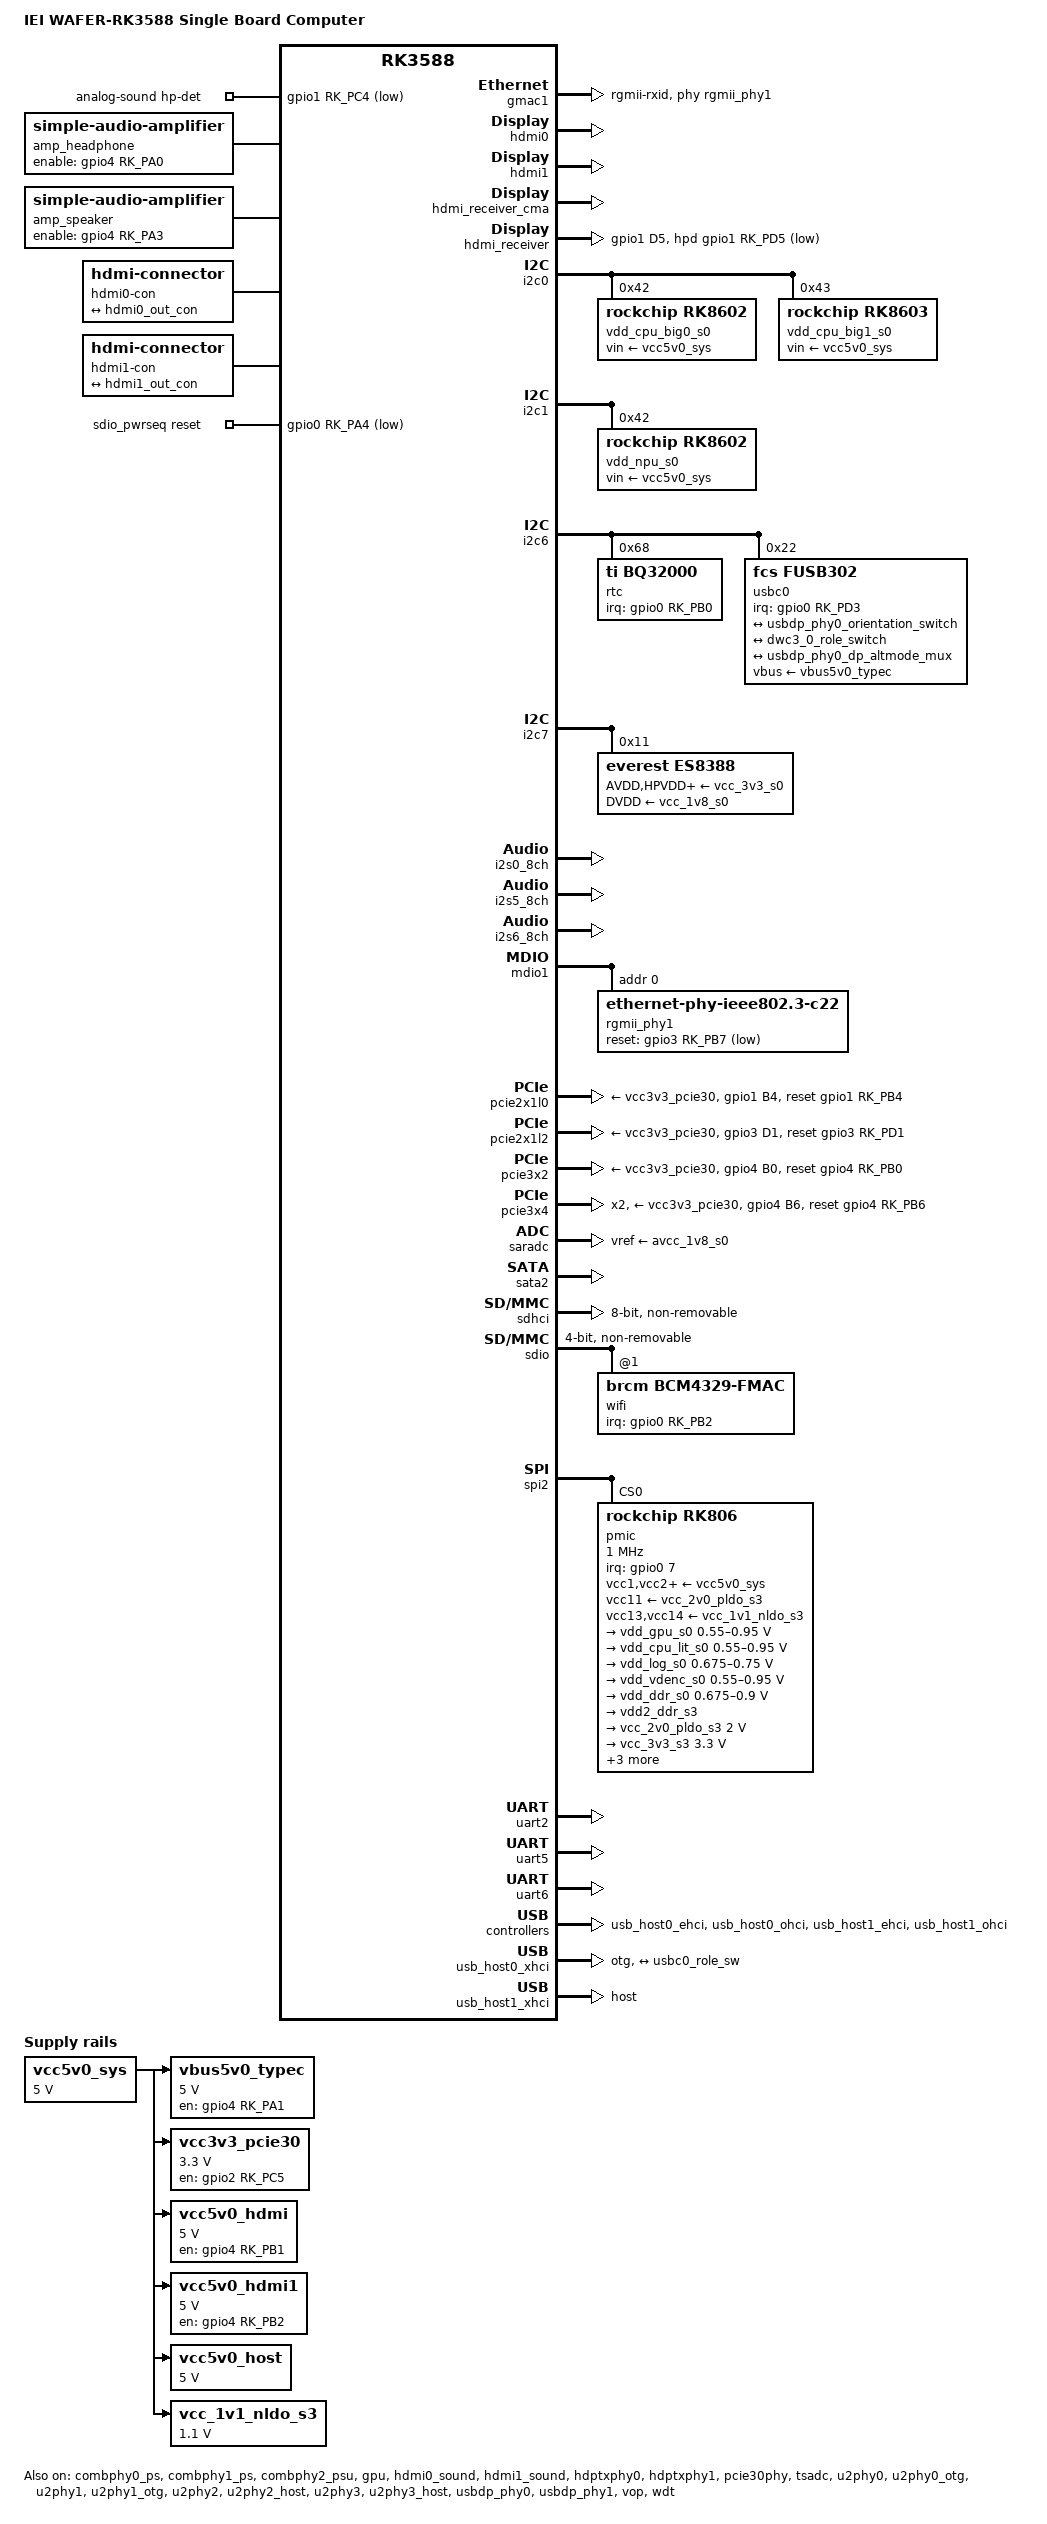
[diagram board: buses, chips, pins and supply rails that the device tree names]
// SPDX-License-Identifier: (GPL-2.0+ OR MIT)
/*
 * Copyright (c) 2026 IEI Integration Corp.
 */

/dts-v1/;

#include <dt-bindings/gpio/gpio.h>
#include <dt-bindings/pinctrl/rockchip.h>
#include <dt-bindings/soc/rockchip,vop2.h>
#include <dt-bindings/usb/pd.h>
#include "rk3588.dtsi"

/ {
	model = "IEI WAFER-RK3588 Single Board Computer";
	compatible = "iei,wafer-rk3588", "rockchip,rk3588";

	aliases {
		ethernet0 = &gmac1;
		mmc0 = &sdhci;
	};

	chosen {
		stdout-path = "serial2:1500000n8";
	};

	analog-sound {
		compatible = "simple-audio-card";
		pinctrl-names = "default";
		pinctrl-0 = <&hp_detect>;
		simple-audio-card,name = "WAFER-RK3588 Audio";
		simple-audio-card,aux-devs = <&amp_headphone>, <&amp_speaker>;
		simple-audio-card,bitclock-master = <&masterdai>;
		simple-audio-card,format = "i2s";
		simple-audio-card,frame-master = <&masterdai>;
		simple-audio-card,hp-det-gpios = <&gpio1 RK_PC4 GPIO_ACTIVE_LOW>;
		simple-audio-card,mclk-fs = <256>;
		simple-audio-card,pin-switches = "Headphones", "Speaker";
		simple-audio-card,routing =
			"Speaker Amplifier INL", "LOUT2",
			"Speaker Amplifier INR", "ROUT2",
			"Speaker", "Speaker Amplifier OUTL",
			"Speaker", "Speaker Amplifier OUTR",
			"Headphones Amplifier INL", "LOUT1",
			"Headphones Amplifier INR", "ROUT1",
			"Headphones", "Headphones Amplifier OUTL",
			"Headphones", "Headphones Amplifier OUTR",
			"LINPUT1", "Main Microphone",
			"RINPUT1", "Main Microphone",
			"LINPUT2", "Headset Microphone",
			"RINPUT2", "Headset Microphone";
		simple-audio-card,widgets =
			"Microphone", "Main Microphone",
			"Microphone", "Headset Microphone",
			"Headphone", "Headphones",
			"Speaker", "Speaker";

		simple-audio-card,cpu {
			sound-dai = <&i2s0_8ch>;
		};

		masterdai: simple-audio-card,codec {
			sound-dai = <&es8388>;
			system-clock-frequency = <12288000>;
		};
	};

	amp_headphone: headphone-amplifier {
		compatible = "simple-audio-amplifier";
		enable-gpios = <&gpio4 RK_PA0 GPIO_ACTIVE_HIGH>;
		pinctrl-names = "default";
		pinctrl-0 = <&headphone_amplifier_en>;
		sound-name-prefix = "Headphones Amplifier";
	};

	amp_speaker: speaker-amplifier {
		compatible = "simple-audio-amplifier";
		enable-gpios = <&gpio4 RK_PA3 GPIO_ACTIVE_HIGH>;
		pinctrl-names = "default";
		pinctrl-0 = <&speaker_amplifier_en>;
		sound-name-prefix = "Speaker Amplifier";
	};

	hdmi0-con {
		compatible = "hdmi-connector";
		type = "a";

		port {
			hdmi0_con_in: endpoint {
				remote-endpoint = <&hdmi0_out_con>;
			};
		};
	};

	hdmi1-con {
		compatible = "hdmi-connector";
		type = "a";

		port {
			hdmi1_con_in: endpoint {
				remote-endpoint = <&hdmi1_out_con>;
			};
		};
	};

	vbus5v0_typec: regulator-vbus5v0-typec {
		compatible = "regulator-fixed";
		enable-active-high;
		gpio = <&gpio4 RK_PA1 GPIO_ACTIVE_HIGH>;
		pinctrl-names = "default";
		pinctrl-0 = <&typec5v_pwren>;
		regulator-name = "vbus5v0_typec";
		regulator-min-microvolt = <5000000>;
		regulator-max-microvolt = <5000000>;
		vin-supply = <&vcc5v0_sys>;
	};

	vcc3v3_pcie30: regulator-vcc3v3-pcie30 {
		compatible = "regulator-fixed";
		enable-active-high;
		gpios = <&gpio2 RK_PC5 GPIO_ACTIVE_HIGH>;
		regulator-name = "vcc3v3_pcie30";
		regulator-min-microvolt = <3300000>;
		regulator-max-microvolt = <3300000>;
		startup-delay-us = <5000>;
		vin-supply = <&vcc5v0_sys>;
	};

	vcc5v0_hdmi: regulator-vcc5v0-hdmi {
		compatible = "regulator-fixed";
		enable-active-high;
		gpios = <&gpio4 RK_PB1 GPIO_ACTIVE_HIGH>;
		pinctrl-names = "default";
		pinctrl-0 = <&hdmi0_tx_en>;
		regulator-name = "vcc5v0_hdmi";
		regulator-always-on;
		regulator-boot-on;
		regulator-min-microvolt = <5000000>;
		regulator-max-microvolt = <5000000>;
		vin-supply = <&vcc5v0_sys>;
	};

	vcc5v0_hdmi1: regulator-vcc5v0-hdmi1 {
		compatible = "regulator-fixed";
		enable-active-high;
		gpios = <&gpio4 RK_PB2 GPIO_ACTIVE_HIGH>;
		pinctrl-names = "default";
		pinctrl-0 = <&hdmi1_tx_en>;
		regulator-name = "vcc5v0_hdmi1";
		regulator-always-on;
		regulator-boot-on;
		regulator-min-microvolt = <5000000>;
		regulator-max-microvolt = <5000000>;
		vin-supply = <&vcc5v0_sys>;
	};

	vcc5v0_host: regulator-vcc5v0-host {
		compatible = "regulator-fixed";
		regulator-name = "vcc5v0_host";
		regulator-always-on;
		regulator-boot-on;
		regulator-min-microvolt = <5000000>;
		regulator-max-microvolt = <5000000>;
		vin-supply = <&vcc5v0_sys>;
	};

	vcc5v0_sys: regulator-vcc5v0-sys {
		compatible = "regulator-fixed";
		regulator-name = "vcc5v0_sys";
		regulator-always-on;
		regulator-boot-on;
		regulator-min-microvolt = <5000000>;
		regulator-max-microvolt = <5000000>;
	};

	vcc_1v1_nldo_s3: regulator-vcc-1v1-nldo-s3 {
		compatible = "regulator-fixed";
		regulator-name = "vcc_1v1_nldo_s3";
		regulator-always-on;
		regulator-boot-on;
		regulator-min-microvolt = <1100000>;
		regulator-max-microvolt = <1100000>;
		vin-supply = <&vcc5v0_sys>;
	};

	sdio_pwrseq: sdio-pwrseq {
		compatible = "mmc-pwrseq-simple";
		pinctrl-names = "default";
		pinctrl-0 = <&wifi_enable_h>;
		reset-gpios = <&gpio0 RK_PA4 GPIO_ACTIVE_LOW>;
		post-power-on-delay-ms = <100>;
	};
};

&combphy0_ps {
	status = "okay";
};

&combphy1_ps {
	status = "okay";
};

&combphy2_psu {
	status = "okay";
};

&cpu_b0 {
	cpu-supply = <&vdd_cpu_big0_s0>;
};

&cpu_b1 {
	cpu-supply = <&vdd_cpu_big0_s0>;
};

&cpu_b2 {
	cpu-supply = <&vdd_cpu_big1_s0>;
};

&cpu_b3 {
	cpu-supply = <&vdd_cpu_big1_s0>;
};

&cpu_l0 {
	cpu-supply = <&vdd_cpu_lit_s0>;
};

&cpu_l1 {
	cpu-supply = <&vdd_cpu_lit_s0>;
};

&cpu_l2 {
	cpu-supply = <&vdd_cpu_lit_s0>;
};

&cpu_l3 {
	cpu-supply = <&vdd_cpu_lit_s0>;
};

&gmac1 {
	clock_in_out = "output";
	phy-handle = <&rgmii_phy1>;
	phy-mode = "rgmii-rxid";
	pinctrl-names = "default";
	pinctrl-0 = <&gmac1_miim
		     &gmac1_tx_bus2
		     &gmac1_rx_bus2
		     &gmac1_rgmii_clk
		     &gmac1_rgmii_bus>;
	tx_delay = <0x43>;
	status = "okay";
};

&gpu {
	mali-supply = <&vdd_gpu_s0>;
	status = "okay";
};

&hdmi0 {
	status = "okay";
};

&hdmi0_in {
	hdmi0_in_vp0: endpoint {
		remote-endpoint = <&vp0_out_hdmi0>;
	};
};

&hdmi0_out {
	hdmi0_out_con: endpoint {
		remote-endpoint = <&hdmi0_con_in>;
	};
};

&hdmi0_sound {
	status = "okay";
};

&hdmi1 {
	status = "okay";
};

&hdmi1_in {
	hdmi1_in_vp1: endpoint {
		remote-endpoint = <&vp1_out_hdmi1>;
	};
};

&hdmi1_out {
	hdmi1_out_con: endpoint {
		remote-endpoint = <&hdmi1_con_in>;
	};
};

&hdmi1_sound {
	status = "okay";
};

&hdmi_receiver_cma {
	status = "okay";
};

&hdmi_receiver {
	hpd-gpios = <&gpio1 RK_PD5 GPIO_ACTIVE_LOW>;
	pinctrl-names = "default";
	pinctrl-0 = <&hdmim1_rx_cec &hdmim1_rx_hpdin
		     &hdmim1_rx_scl &hdmim1_rx_sda &hdmirx_hpd>;
	status = "okay";
};

&hdptxphy0 {
	status = "okay";
};

&hdptxphy1 {
	status = "okay";
};

&i2c0 {
	pinctrl-names = "default";
	pinctrl-0 = <&i2c0m2_xfer>;
	status = "okay";

	vdd_cpu_big0_s0: regulator@42 {
		compatible = "rockchip,rk8602";
		reg = <0x42>;
		fcs,suspend-voltage-selector = <1>;
		regulator-name = "vdd_cpu_big0_s0";
		regulator-always-on;
		regulator-boot-on;
		regulator-min-microvolt = <550000>;
		regulator-max-microvolt = <1050000>;
		regulator-ramp-delay = <2300>;
		vin-supply = <&vcc5v0_sys>;

		regulator-state-mem {
			regulator-off-in-suspend;
		};
	};

	vdd_cpu_big1_s0: regulator@43 {
		compatible = "rockchip,rk8603", "rockchip,rk8602";
		reg = <0x43>;
		fcs,suspend-voltage-selector = <1>;
		regulator-name = "vdd_cpu_big1_s0";
		regulator-always-on;
		regulator-boot-on;
		regulator-min-microvolt = <550000>;
		regulator-max-microvolt = <1050000>;
		regulator-ramp-delay = <2300>;
		vin-supply = <&vcc5v0_sys>;

		regulator-state-mem {
			regulator-off-in-suspend;
		};
	};
};

&i2c1 {
	pinctrl-names = "default";
	pinctrl-0 = <&i2c1m2_xfer>;
	status = "okay";

	vdd_npu_s0: regulator@42 {
		compatible = "rockchip,rk8602";
		reg = <0x42>;
		fcs,suspend-voltage-selector = <1>;
		regulator-name = "vdd_npu_s0";
		regulator-boot-on;
		regulator-enable-ramp-delay = <500>;
		regulator-min-microvolt = <550000>;
		regulator-max-microvolt = <950000>;
		regulator-ramp-delay = <2300>;
		vin-supply = <&vcc5v0_sys>;

		regulator-state-mem {
			regulator-off-in-suspend;
		};
	};
};

&i2c6 {
	pinctrl-names = "default";
	pinctrl-0 = <&i2c6m0_xfer>;
	status = "okay";

	rtc@68 {
		compatible = "ti,bq32000";
		reg = <0x68>;
		interrupt-parent = <&gpio0>;
		interrupts = <RK_PB0 IRQ_TYPE_LEVEL_LOW>;
		pinctrl-names = "default";
		pinctrl-0 = <&rtc_int>;
		wakeup-source;
	};

	usbc0: usb-typec@22 {
		compatible = "fcs,fusb302";
		reg = <0x22>;
		interrupt-parent = <&gpio0>;
		interrupts = <RK_PD3 IRQ_TYPE_LEVEL_LOW>;
		pinctrl-names = "default";
		pinctrl-0 = <&usbc0_int>;
		vbus-supply = <&vbus5v0_typec>;
		status = "okay";

		usb_con: connector {
			compatible = "usb-c-connector";
			label = "USB-C";
			data-role = "dual";
			op-sink-microwatt = <1000000>;
			power-role = "dual";
			sink-pdos =
				<PDO_FIXED(5000, 1000, PDO_FIXED_USB_COMM)>;
			source-pdos =
				<PDO_FIXED(5000, 3000, PDO_FIXED_USB_COMM)>;
			try-power-role = "sink";

			ports {
				#address-cells = <1>;
				#size-cells = <0>;

				port@0 {
					reg = <0>;

					usbc0_orien_sw: endpoint {
						remote-endpoint = <&usbdp_phy0_orientation_switch>;
					};
				};

				port@1 {
					reg = <1>;

					usbc0_role_sw: endpoint {
						remote-endpoint = <&dwc3_0_role_switch>;
					};
				};

				port@2 {
					reg = <2>;

					dp_altmode_mux: endpoint {
						remote-endpoint = <&usbdp_phy0_dp_altmode_mux>;
					};
				};
			};
		};
	};
};

&i2c7 {
	pinctrl-names = "default";
	pinctrl-0 = <&i2c7m0_xfer>;
	status = "okay";

	es8388: audio-codec@11 {
		compatible = "everest,es8388";
		reg = <0x11>;
		clocks = <&cru I2S0_8CH_MCLKOUT>;
		assigned-clocks = <&cru I2S0_8CH_MCLKOUT>;
		assigned-clock-rates = <12288000>;
		AVDD-supply = <&vcc_3v3_s0>;
		DVDD-supply = <&vcc_1v8_s0>;
		HPVDD-supply = <&vcc_3v3_s0>;
		PVDD-supply = <&vcc_3v3_s0>;
		#sound-dai-cells = <0>;
	};
};

&i2s0_8ch {
	pinctrl-0 = <&i2s0_lrck
		     &i2s0_mclk
		     &i2s0_sclk
		     &i2s0_sdi0
		     &i2s0_sdo0>;
	status = "okay";
};

&i2s5_8ch {
	status = "okay";
};

&i2s6_8ch {
	status = "okay";
};

&mdio1 {
	rgmii_phy1: ethernet-phy@0 {
		compatible = "ethernet-phy-ieee802.3-c22";
		reg = <0x0>;
		pinctrl-names = "default";
		pinctrl-0 = <&gmac1_rstn>;
		reset-assert-us = <20000>;
		reset-deassert-us = <100000>;
		reset-gpios = <&gpio3 RK_PB7 GPIO_ACTIVE_LOW>;
	};
};

&pcie2x1l0 {
	pinctrl-names = "default";
	pinctrl-0 = <&pcie2x1l0_rst>;
	reset-gpios = <&gpio1 RK_PB4 GPIO_ACTIVE_HIGH>;
	vpcie3v3-supply = <&vcc3v3_pcie30>;
	status = "okay";
};

&pcie2x1l2 {
	pinctrl-names = "default";
	pinctrl-0 = <&pcie2x1l2_rst>;
	reset-gpios = <&gpio3 RK_PD1 GPIO_ACTIVE_HIGH>;
	vpcie3v3-supply = <&vcc3v3_pcie30>;
	status = "okay";
};

&pcie30phy {
	data-lanes = <1 1 2 2>;
	status = "okay";
};

&pcie3x2 {
	pinctrl-names = "default";
	pinctrl-0 = <&pcie3x2_rst>;
	reset-gpios = <&gpio4 RK_PB0 GPIO_ACTIVE_HIGH>;
	vpcie3v3-supply = <&vcc3v3_pcie30>;
	status = "okay";
};

&pcie3x4 {
	num-lanes = <2>;
	pinctrl-names = "default";
	pinctrl-0 = <&pcie3x4_rst>;
	reset-gpios = <&gpio4 RK_PB6 GPIO_ACTIVE_HIGH>;
	vpcie3v3-supply = <&vcc3v3_pcie30>;
	status = "okay";
};

&pinctrl {
	audio {
		hp_detect: headphone-detect {
			rockchip,pins = <1 RK_PC4 RK_FUNC_GPIO &pcfg_pull_none>;
		};

		headphone_amplifier_en: headphone-amplifier-en {
			rockchip,pins = <4 RK_PA0 RK_FUNC_GPIO &pcfg_pull_none>;
		};

		speaker_amplifier_en: speaker-amplifier-en {
			rockchip,pins = <4 RK_PA3 RK_FUNC_GPIO &pcfg_pull_none>;
		};
	};

	gmac {
		gmac1_rstn: gmac1-rstn {
			rockchip,pins = <3 RK_PB7 RK_FUNC_GPIO &pcfg_pull_none>;
		};
	};

	hdmi {
		hdmi0_tx_en: hdmi0-tx-en {
			rockchip,pins = <4 RK_PB1 RK_FUNC_GPIO &pcfg_pull_none>;
		};

		hdmi1_tx_en: hdmi1-tx-en {
			rockchip,pins = <4 RK_PB2 RK_FUNC_GPIO &pcfg_pull_none>;
		};

		hdmirx_hpd: hdmirx-hpd {
			rockchip,pins = <1 RK_PD5 RK_FUNC_GPIO &pcfg_pull_none>;
		};
	};

	pcie {
		pcie2x1l0_rst: pcie2x1l0-rst {
			rockchip,pins = <1 RK_PB4 RK_FUNC_GPIO &pcfg_pull_none>;
		};

		pcie2x1l2_rst: pcie2x1l2-rst {
			rockchip,pins = <3 RK_PD1 RK_FUNC_GPIO &pcfg_pull_none>;
		};

		pcie3x2_rst: pcie3x2-rst {
			rockchip,pins = <4 RK_PB0 RK_FUNC_GPIO &pcfg_pull_none>;
		};

		pcie3x4_rst: pcie3x4-rst {
			rockchip,pins = <4 RK_PB6 RK_FUNC_GPIO &pcfg_pull_none>;
		};
	};

	rtc {
		rtc_int: rtc-int {
			rockchip,pins = <0 RK_PB0 RK_FUNC_GPIO &pcfg_pull_up>;
		};
	};

	usb-typec {
		usbc0_int: usbc0-int {
			rockchip,pins = <0 RK_PD3 RK_FUNC_GPIO &pcfg_pull_up>;
		};

		typec5v_pwren: typec5v-pwren {
			rockchip,pins = <4 RK_PA1 RK_FUNC_GPIO &pcfg_pull_none>;
		};
	};

	wifi {
		wifi_enable_h: wifi-enable-h {
			rockchip,pins = <0 RK_PA4 RK_FUNC_GPIO &pcfg_pull_none>;
		};

		wifi_host_wake_irq: wifi-host-wake-irq {
			rockchip,pins = <0 RK_PB2 RK_FUNC_GPIO &pcfg_pull_down>;
		};
	};
};

&saradc {
	vref-supply = <&avcc_1v8_s0>;
	status = "okay";
};

&sata2 {
	status = "okay";
};

&sdhci {
	bus-width = <8>;
	no-sdio;
	no-sd;
	non-removable;
	mmc-hs400-1_8v;
	mmc-hs400-enhanced-strobe;
	status = "okay";
};

&sdio {
	#address-cells = <1>;
	#size-cells = <0>;
	bus-width = <4>;
	cap-sd-highspeed;
	cap-sdio-irq;
	disable-wp;
	keep-power-in-suspend;
	max-frequency = <150000000>;
	mmc-pwrseq = <&sdio_pwrseq>;
	no-mmc;
	no-sd;
	non-removable;
	sd-uhs-sdr104;
	pinctrl-names = "default";
	pinctrl-0 = <&sdiom0_pins>;
	status = "okay";

	wifi: wifi@1 {
		compatible = "brcm,bcm4329-fmac";
		reg = <1>;
		interrupt-parent = <&gpio0>;
		interrupts = <RK_PB2 IRQ_TYPE_LEVEL_HIGH>;
		interrupt-names = "host-wake";
		pinctrl-names = "default";
		pinctrl-0 = <&wifi_host_wake_irq>;
	};
};

&spi2 {
	status = "okay";
	assigned-clocks = <&cru CLK_SPI2>;
	assigned-clock-rates = <200000000>;
	pinctrl-names = "default";
	pinctrl-0 = <&spi2m2_cs0 &spi2m2_pins>;
	num-cs = <1>;

	pmic@0 {
		compatible = "rockchip,rk806";
		spi-max-frequency = <1000000>;
		reg = <0x0>;

		interrupt-parent = <&gpio0>;
		interrupts = <7 IRQ_TYPE_LEVEL_LOW>;

		pinctrl-names = "default";
		pinctrl-0 = <&pmic_pins>, <&rk806_dvs1_null>,
			    <&rk806_dvs2_null>, <&rk806_dvs3_null>;

		system-power-controller;

		vcc1-supply = <&vcc5v0_sys>;
		vcc2-supply = <&vcc5v0_sys>;
		vcc3-supply = <&vcc5v0_sys>;
		vcc4-supply = <&vcc5v0_sys>;
		vcc5-supply = <&vcc5v0_sys>;
		vcc6-supply = <&vcc5v0_sys>;
		vcc7-supply = <&vcc5v0_sys>;
		vcc8-supply = <&vcc5v0_sys>;
		vcc9-supply = <&vcc5v0_sys>;
		vcc10-supply = <&vcc5v0_sys>;
		vcc11-supply = <&vcc_2v0_pldo_s3>;
		vcc12-supply = <&vcc5v0_sys>;
		vcc13-supply = <&vcc_1v1_nldo_s3>;
		vcc14-supply = <&vcc_1v1_nldo_s3>;
		vcca-supply = <&vcc5v0_sys>;

		gpio-controller;
		#gpio-cells = <2>;

		rk806_dvs1_null: dvs1-null-pins {
			pins = "gpio_pwrctrl1";
			function = "pin_fun0";
		};

		rk806_dvs2_null: dvs2-null-pins {
			pins = "gpio_pwrctrl2";
			function = "pin_fun0";
		};

		rk806_dvs3_null: dvs3-null-pins {
			pins = "gpio_pwrctrl3";
			function = "pin_fun0";
		};

		regulators {
			vdd_gpu_s0: vdd_gpu_mem_s0: dcdc-reg1 {
				regulator-boot-on;
				regulator-min-microvolt = <550000>;
				regulator-max-microvolt = <950000>;
				regulator-ramp-delay = <12500>;
				regulator-name = "vdd_gpu_s0";
				regulator-enable-ramp-delay = <400>;

				regulator-state-mem {
					regulator-off-in-suspend;
				};
			};

			vdd_cpu_lit_s0: vdd_cpu_lit_mem_s0: dcdc-reg2 {
				regulator-always-on;
				regulator-boot-on;
				regulator-min-microvolt = <550000>;
				regulator-max-microvolt = <950000>;
				regulator-ramp-delay = <12500>;
				regulator-name = "vdd_cpu_lit_s0";

				regulator-state-mem {
					regulator-off-in-suspend;
				};
			};

			vdd_log_s0: dcdc-reg3 {
				regulator-always-on;
				regulator-boot-on;
				regulator-min-microvolt = <675000>;
				regulator-max-microvolt = <750000>;
				regulator-ramp-delay = <12500>;
				regulator-name = "vdd_log_s0";

				regulator-state-mem {
					regulator-off-in-suspend;
					regulator-suspend-microvolt = <750000>;
				};
			};

			vdd_vdenc_s0: vdd_vdenc_mem_s0: dcdc-reg4 {
				regulator-always-on;
				regulator-boot-on;
				regulator-min-microvolt = <550000>;
				regulator-max-microvolt = <950000>;
				regulator-ramp-delay = <12500>;
				regulator-name = "vdd_vdenc_s0";

				regulator-state-mem {
					regulator-off-in-suspend;
				};
			};

			vdd_ddr_s0: dcdc-reg5 {
				regulator-always-on;
				regulator-boot-on;
				regulator-min-microvolt = <675000>;
				regulator-max-microvolt = <900000>;
				regulator-ramp-delay = <12500>;
				regulator-name = "vdd_ddr_s0";

				regulator-state-mem {
					regulator-off-in-suspend;
					regulator-suspend-microvolt = <850000>;
				};
			};

			vdd2_ddr_s3: dcdc-reg6 {
				regulator-always-on;
				regulator-boot-on;
				regulator-name = "vdd2_ddr_s3";

				regulator-state-mem {
					regulator-on-in-suspend;
				};
			};

			vcc_2v0_pldo_s3: dcdc-reg7 {
				regulator-always-on;
				regulator-boot-on;
				regulator-min-microvolt = <2000000>;
				regulator-max-microvolt = <2000000>;
				regulator-ramp-delay = <12500>;
				regulator-name = "vdd_2v0_pldo_s3";

				regulator-state-mem {
					regulator-on-in-suspend;
					regulator-suspend-microvolt = <2000000>;
				};
			};

			vcc_3v3_s3: dcdc-reg8 {
				regulator-always-on;
				regulator-boot-on;
				regulator-min-microvolt = <3300000>;
				regulator-max-microvolt = <3300000>;
				regulator-name = "vcc_3v3_s3";

				regulator-state-mem {
					regulator-on-in-suspend;
					regulator-suspend-microvolt = <3300000>;
				};
			};

			vddq_ddr_s0: dcdc-reg9 {
				regulator-always-on;
				regulator-boot-on;
				regulator-name = "vddq_ddr_s0";

				regulator-state-mem {
					regulator-off-in-suspend;
				};
			};

			vcc_1v8_s3: dcdc-reg10 {
				regulator-always-on;
				regulator-boot-on;
				regulator-min-microvolt = <1800000>;
				regulator-max-microvolt = <1800000>;
				regulator-name = "vcc_1v8_s3";

				regulator-state-mem {
					regulator-on-in-suspend;
					regulator-suspend-microvolt = <1800000>;
				};
			};

			avcc_1v8_s0: pldo-reg1 {
				regulator-always-on;
				regulator-boot-on;
				regulator-min-microvolt = <1800000>;
				regulator-max-microvolt = <1800000>;
				regulator-name = "avcc_1v8_s0";

				regulator-state-mem {
					regulator-off-in-suspend;
				};
			};

			vcc_1v8_s0: pldo-reg2 {
				regulator-always-on;
				regulator-boot-on;
				regulator-min-microvolt = <1800000>;
				regulator-max-microvolt = <1800000>;
				regulator-name = "vcc_1v8_s0";

				regulator-state-mem {
					regulator-off-in-suspend;
					regulator-suspend-microvolt = <1800000>;
				};
			};

			avdd_1v2_s0: pldo-reg3 {
				regulator-always-on;
				regulator-boot-on;
				regulator-min-microvolt = <1200000>;
				regulator-max-microvolt = <1200000>;
				regulator-name = "avdd_1v2_s0";

				regulator-state-mem {
					regulator-off-in-suspend;
				};
			};

			vcc_3v3_s0: pldo-reg4 {
				regulator-always-on;
				regulator-boot-on;
				regulator-min-microvolt = <3300000>;
				regulator-max-microvolt = <3300000>;
				regulator-ramp-delay = <12500>;
				regulator-name = "vcc_3v3_s0";

				regulator-state-mem {
					regulator-off-in-suspend;
				};
			};

			vccio_sd_s0: pldo-reg5 {
				regulator-always-on;
				regulator-boot-on;
				regulator-min-microvolt = <1800000>;
				regulator-max-microvolt = <3300000>;
				regulator-ramp-delay = <12500>;
				regulator-name = "vccio_sd_s0";

				regulator-state-mem {
					regulator-off-in-suspend;
				};
			};

			pldo6_s3: pldo-reg6 {
				regulator-always-on;
				regulator-boot-on;
				regulator-min-microvolt = <1800000>;
				regulator-max-microvolt = <1800000>;
				regulator-name = "pldo6_s3";

				regulator-state-mem {
					regulator-on-in-suspend;
					regulator-suspend-microvolt = <1800000>;
				};
			};

			vdd_0v75_s3: nldo-reg1 {
				regulator-always-on;
				regulator-boot-on;
				regulator-min-microvolt = <750000>;
				regulator-max-microvolt = <750000>;
				regulator-name = "vdd_0v75_s3";

				regulator-state-mem {
					regulator-on-in-suspend;
					regulator-suspend-microvolt = <750000>;
				};
			};

			vdd_ddr_pll_s0: nldo-reg2 {
				regulator-always-on;
				regulator-boot-on;
				regulator-min-microvolt = <850000>;
				regulator-max-microvolt = <850000>;
				regulator-name = "vdd_ddr_pll_s0";

				regulator-state-mem {
					regulator-off-in-suspend;
					regulator-suspend-microvolt = <850000>;
				};
			};

			avdd_0v75_s0: nldo-reg3 {
				regulator-always-on;
				regulator-boot-on;
				regulator-min-microvolt = <750000>;
				regulator-max-microvolt = <750000>;
				regulator-name = "avdd_0v75_s0";

				regulator-state-mem {
					regulator-off-in-suspend;
				};
			};

			vdd_0v85_s0: nldo-reg4 {
				regulator-always-on;
				regulator-boot-on;
				regulator-min-microvolt = <850000>;
				regulator-max-microvolt = <850000>;
				regulator-name = "vdd_0v85_s0";

				regulator-state-mem {
					regulator-off-in-suspend;
				};
			};

			vdd_0v75_s0: nldo-reg5 {
				regulator-always-on;
				regulator-boot-on;
				regulator-min-microvolt = <750000>;
				regulator-max-microvolt = <750000>;
				regulator-name = "vdd_0v75_s0";

				regulator-state-mem {
					regulator-off-in-suspend;
				};
			};
		};
	};
};

&tsadc {
	status = "okay";
};

&u2phy0 {
	status = "okay";
};

&u2phy0_otg {
	status = "okay";
};

&u2phy1 {
	status = "okay";
};

&u2phy1_otg {
	phy-supply = <&vcc5v0_host>;
	status = "okay";
};

&u2phy2 {
	status = "okay";
};

&u2phy2_host {
	phy-supply = <&vcc5v0_host>;
	status = "okay";
};

&u2phy3 {
	status = "okay";
};

&u2phy3_host {
	phy-supply = <&vcc5v0_host>;
	status = "okay";
};

&uart2 {
	pinctrl-0 = <&uart2m0_xfer>;
	status = "okay";
};

&uart5 {
	pinctrl-names = "default";
	pinctrl-0 = <&uart5m0_xfer &uart5m0_ctsn &uart5m0_rtsn>;
	status = "okay";
};

&uart6 {
	pinctrl-names = "default";
	pinctrl-0 = <&uart6m1_xfer &uart6m1_ctsn &uart6m1_rtsn>;
	status = "okay";
};

&usbdp_phy0 {
	mode-switch;
	orientation-switch;
	sbu1-dc-gpios = <&gpio4 RK_PA6 GPIO_ACTIVE_HIGH>;
	sbu2-dc-gpios = <&gpio4 RK_PA7 GPIO_ACTIVE_HIGH>;
	status = "okay";

	port {
		#address-cells = <1>;
		#size-cells = <0>;

		usbdp_phy0_orientation_switch: endpoint@0 {
			reg = <0>;
			remote-endpoint = <&usbc0_orien_sw>;
		};

		usbdp_phy0_dp_altmode_mux: endpoint@1 {
			reg = <1>;
			remote-endpoint = <&dp_altmode_mux>;
		};
	};
};

&usbdp_phy1 {
	rockchip,dp-lane-mux = <2 3>;
	status = "okay";
};

&usb_host0_ehci {
	status = "okay";
};

&usb_host0_ohci {
	status = "okay";
};

&usb_host0_xhci {
	dr_mode = "otg";
	usb-role-switch;
	status = "okay";

	port {
		#address-cells = <1>;
		#size-cells = <0>;

		dwc3_0_role_switch: endpoint@0 {
			reg = <0>;
			remote-endpoint = <&usbc0_role_sw>;
		};
	};
};

&usb_host1_ehci {
	status = "okay";
};

&usb_host1_ohci {
	status = "okay";
};

&usb_host1_xhci {
	dr_mode = "host";
	status = "okay";
};

&vop {
	status = "okay";
};

&vop_mmu {
	status = "okay";
};

&vp0 {
	vp0_out_hdmi0: endpoint@ROCKCHIP_VOP2_EP_HDMI0 {
		reg = <ROCKCHIP_VOP2_EP_HDMI0>;
		remote-endpoint = <&hdmi0_in_vp0>;
	};
};

&vp1 {
	vp1_out_hdmi1: endpoint@ROCKCHIP_VOP2_EP_HDMI1 {
		reg = <ROCKCHIP_VOP2_EP_HDMI1>;
		remote-endpoint = <&hdmi1_in_vp1>;
	};
};

&wdt {
	status = "okay";
};
